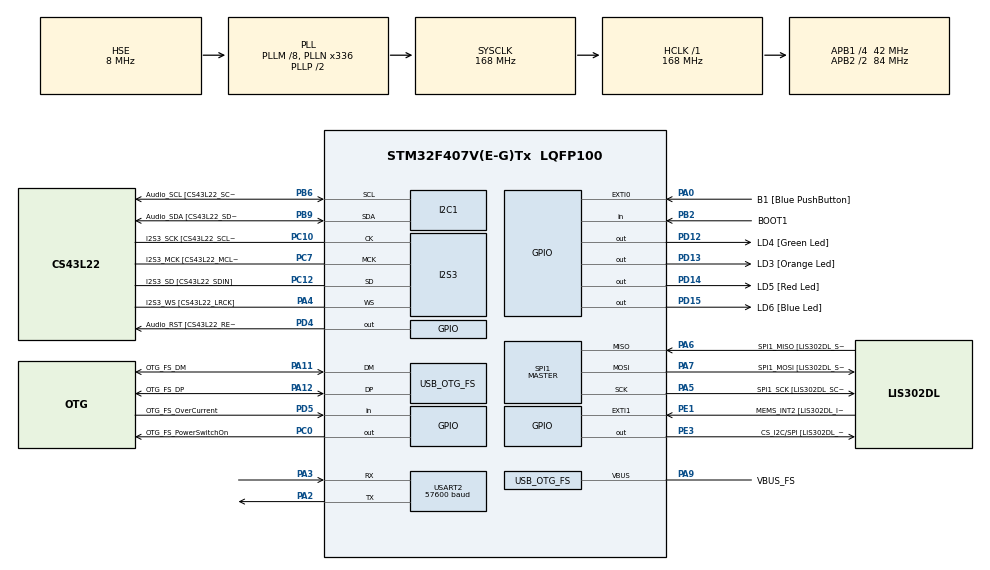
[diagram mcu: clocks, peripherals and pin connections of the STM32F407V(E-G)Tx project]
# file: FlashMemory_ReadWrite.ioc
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I2S3.AudioFreq-Half_Duplex_Master=I2S_AUDIOFREQ_96K
I2S3.ErrorAudioFreq=-2.34 %
I2S3.ErrorAudioFreq-Half_Duplex_Master=0.8 %
I2S3.FullDuplexMode=I2S_FULLDUPLEXMODE_DISABLE
I2S3.Instance=SPI$Index
I2S3.RealAudioFreq=93.75 KHz
I2S3.RealAudioFreq-Half_Duplex_Master=96.774 KHz
I2S3.VirtualMode=I2S_MODE_MASTER
Mcu.Family=STM32F4
Mcu.Name=STM32F407V(E-G)Tx
Mcu.Package=LQFP100
NVIC.OTG_FS_IRQn=true\:0\:0\:false\:false\:true\:true\:true\:true
NVIC.PriorityGroup=NVIC_PRIORITYGROUP_0
NVIC.USART2_IRQn=true\:0\:0\:false\:false\:true\:true\:true\:true
PA0-WKUP.GPIO_Label=B1 [Blue PushButton]
PA0-WKUP.GPIO_ModeDefaultEXTI=GPIO_MODE_EVT_RISING
PA0-WKUP.GPIO_PuPd=GPIO_NOPULL
PA0-WKUP.Signal=GPXTI0
PA10.GPIO_Label=OTG_FS_ID
PA10.GPIO_Mode=GPIO_MODE_AF_PP
PA10.GPIO_PuPd=GPIO_NOPULL
PA10.GPIO_Speed=GPIO_SPEED_FREQ_LOW
PA10.Signal=USB_OTG_FS_ID
PA11.GPIO_Label=OTG_FS_DM
PA11.GPIO_Mode=GPIO_MODE_AF_PP
PA11.GPIO_PuPd=GPIO_NOPULL
PA11.GPIO_Speed=GPIO_SPEED_FREQ_LOW
PA11.Mode=Host_Only
PA11.Signal=USB_OTG_FS_DM
PA12.GPIO_Label=OTG_FS_DP
PA12.GPIO_Mode=GPIO_MODE_AF_PP
PA12.GPIO_PuPd=GPIO_NOPULL
PA12.GPIO_Speed=GPIO_SPEED_FREQ_LOW
PA12.Mode=Host_Only
PA12.Signal=USB_OTG_FS_DP
PA13.GPIO_Label=SWDIO
PA13.Mode=Serial_Wire
PA13.Signal=SYS_JTMS-SWDIO
PA14.GPIO_Label=SWCLK
PA14.Mode=Serial_Wire
PA14.Signal=SYS_JTCK-SWCLK
PA2.Mode=Asynchronous
PA2.Signal=USART2_TX
PA3.Mode=Asynchronous
PA3.Signal=USART2_RX
PA4.GPIO_Label=I2S3_WS [CS43L22_LRCK]
PA4.GPIO_Mode=GPIO_MODE_AF_PP
PA4.GPIO_PuPd=GPIO_NOPULL
PA4.GPIO_Speed=GPIO_SPEED_FREQ_LOW
PA4.Mode=Half_Duplex_Master
PA4.Signal=I2S3_WS
PA5.GPIO_Label=SPI1_SCK [LIS302DL_SCL/SPC]
PA5.GPIO_Mode=GPIO_MODE_AF_PP
PA5.GPIO_PuPd=GPIO_NOPULL
PA5.GPIO_Speed=GPIO_SPEED_FREQ_LOW
PA5.Mode=Full_Duplex_Master
PA5.Signal=SPI1_SCK
PA6.GPIO_Label=SPI1_MISO [LIS302DL_SDO]
PA6.GPIO_Mode=GPIO_MODE_AF_PP
PA6.GPIO_PuPd=GPIO_NOPULL
PA6.GPIO_Speed=GPIO_SPEED_FREQ_LOW
PA6.Mode=Full_Duplex_Master
PA6.Signal=SPI1_MISO
PA7.GPIO_Label=SPI1_MOSI [LIS302DL_SDA/SDI/SDO]
PA7.GPIO_Mode=GPIO_MODE_AF_PP
PA7.GPIO_PuPd=GPIO_NOPULL
PA7.GPIO_Speed=GPIO_SPEED_FREQ_LOW
PA7.Mode=Full_Duplex_Master
PA7.Signal=SPI1_MOSI
PA9.GPIO_Label=VBUS_FS
PA9.GPIO_Mode=GPIO_MODE_INPUT
PA9.GPIO_PuPd=GPIO_NOPULL
PA9.Mode=Activate_VBUS
PA9.Signal=USB_OTG_FS_VBUS
PB10.GPIO_Label=CLK_IN [MP45DT02_CLK]
PB10.GPIO_Mode=GPIO_MODE_AF_PP
PB10.GPIO_PuPd=GPIO_NOPULL
PB10.GPIO_Speed=GPIO_SPEED_FREQ_LOW
PB10.Signal=I2S2_CK
PB2.GPIO_Label=BOOT1
PB2.GPIO_Mode=GPIO_MODE_INPUT
PB2.GPIO_PuPd=GPIO_NOPULL
PB2.Signal=GPIO_Input
PB3.GPIO_Label=SWO
PB3.Signal=SYS_JTDO-SWO
PB6.GPIO_Label=Audio_SCL [CS43L22_SCL]
PB6.GPIO_Mode=GPIO_MODE_AF_OD
PB6.GPIO_Pu=GPIO_PULLUP
PB6.GPIO_PuPd=GPIO_NOPULL
PB6.GPIO_Speed=GPIO_SPEED_FREQ_LOW
PB6.Mode=I2C
PB6.Signal=I2C1_SCL
PB9.GPIO_Label=Audio_SDA [CS43L22_SDA]
PB9.GPIO_Mode=GPIO_MODE_AF_OD
PB9.GPIO_Pu=GPIO_PULLUP
PB9.GPIO_PuPd=GPIO_NOPULL
PB9.GPIO_Speed=GPIO_SPEED_FREQ_LOW
PB9.Mode=I2C
PB9.Signal=I2C1_SDA
PC0.GPIO_Label=OTG_FS_PowerSwitchOn
PC0.GPIO_PuPd=GPIO_NOPULL
PC0.GPIO_Speed=GPIO_SPEED_FREQ_LOW
PC0.PinState=GPIO_PIN_SET
PC0.Signal=GPIO_Output
PC10.GPIO_Label=I2S3_SCK [CS43L22_SCLK]
PC10.GPIO_Mode=GPIO_MODE_AF_PP
PC10.GPIO_PuPd=GPIO_NOPULL
PC10.GPIO_Speed=GPIO_SPEED_FREQ_LOW
PC10.Mode=Half_Duplex_Master
PC10.Signal=I2S3_CK
PC12.GPIO_Label=I2S3_SD [CS43L22_SDIN]
PC12.GPIO_Mode=GPIO_MODE_AF_PP
PC12.GPIO_PuPd=GPIO_NOPULL
PC12.GPIO_Speed=GPIO_SPEED_FREQ_LOW
PC12.Mode=Half_Duplex_Master
PC12.Signal=I2S3_SD
PC14-OSC32_IN.GPIO_Label=PC14-OSC32_IN
PC14-OSC32_IN.Mode=LSE-External-Oscillator
PC14-OSC32_IN.Signal=RCC_OSC32_IN
PC15-OSC32_OUT.GPIO_Label=PC15-OSC32_OUT
PC15-OSC32_OUT.Mode=LSE-External-Oscillator
PC15-OSC32_OUT.Signal=RCC_OSC32_OUT
PC3.GPIO_Label=PDM_OUT [MP45DT02_DOUT]
PC3.GPIO_Mode=GPIO_MODE_AF_PP
PC3.GPIO_PuPd=GPIO_NOPULL
PC3.GPIO_Speed=GPIO_SPEED_FREQ_LOW
PC3.Signal=I2S2_SD
PC7.GPIO_Label=I2S3_MCK [CS43L22_MCLK]
PC7.GPIO_Mode=GPIO_MODE_AF_PP
PC7.GPIO_PuPd=GPIO_NOPULL
PC7.GPIO_Speed=GPIO_SPEED_FREQ_LOW
PC7.Mode=Master_Clock_Activated
PC7.Signal=I2S3_MCK
PD12.GPIO_Label=LD4 [Green Led]
PD12.GPIO_PuPd=GPIO_NOPULL
PD12.GPIO_Speed=GPIO_SPEED_FREQ_LOW
PD12.Signal=GPIO_Output
PD13.GPIO_Label=LD3 [Orange Led]
PD13.GPIO_PuPd=GPIO_NOPULL
PD13.GPIO_Speed=GPIO_SPEED_FREQ_LOW
PD13.Signal=GPIO_Output
PD14.GPIO_Label=LD5 [Red Led]
PD14.GPIO_PuPd=GPIO_NOPULL
PD14.GPIO_Speed=GPIO_SPEED_FREQ_LOW
PD14.Signal=GPIO_Output
PD15.GPIO_Label=LD6 [Blue Led]
PD15.GPIO_PuPd=GPIO_NOPULL
PD15.GPIO_Speed=GPIO_SPEED_FREQ_LOW
PD15.Signal=GPIO_Output
PD4.GPIO_Label=Audio_RST [CS43L22_RESET]
PD4.GPIO_PuPd=GPIO_NOPULL
PD4.GPIO_Speed=GPIO_SPEED_FREQ_LOW
PD4.Signal=GPIO_Output
PD5.GPIO_Label=OTG_FS_OverCurrent
PD5.GPIO_Mode=GPIO_MODE_INPUT
PD5.GPIO_PuPd=GPIO_NOPULL
PD5.Signal=GPIO_Input
PE1.GPIO_Label=MEMS_INT2 [LIS302DL_INT2]
PE1.GPIO_ModeDefaultEXTI=GPIO_MODE_EVT_RISING
PE1.GPIO_PuPd=GPIO_NOPULL
PE1.Signal=GPXTI1
PE3.GPIO_Label=CS_I2C/SPI [LIS302DL_CS_I2C/SPI]
PE3.GPIO_PuPd=GPIO_NOPULL
PE3.GPIO_Speed=GPIO_SPEED_FREQ_LOW
PE3.Signal=GPIO_Output
PH0-OSC_IN.GPIO_Label=PH0-OSC_IN
PH0-OSC_IN.Mode=HSE-External-Oscillator
PH0-OSC_IN.Signal=RCC_OSC_IN
PH1-OSC_OUT.GPIO_Label=PH1-OSC_OUT
PH1-OSC_OUT.Mode=HSE-External-Oscillator
PH1-OSC_OUT.Signal=RCC_OSC_OUT
ProjectManager.HeapSize=0x200
ProjectManager.StackSize=0x400
ProjectManager.TargetToolchain=STM32CubeIDE
RCC.48MHZClocksFreq_Value=48000000
RCC.AHBFreq_Value=168000000
RCC.APB1CLKDivider=RCC_HCLK_DIV4
RCC.APB1Freq_Value=42000000
RCC.APB1TimFreq_Value=84000000
RCC.APB2CLKDivider=RCC_HCLK_DIV2
RCC.APB2Freq_Value=84000000
RCC.APB2TimFreq_Value=168000000
RCC.CortexFreq_Value=168000000
RCC.HCLKFreq_Value=168000000
RCC.HSE_VALUE=8000000
RCC.HSI_VALUE=16000000
RCC.PLLM=8
RCC.PLLN=336
RCC.PLLQ=7
RCC.SYSCLKFreq_VALUE=168000000
RCC.SYSCLKSource=RCC_SYSCLKSOURCE_PLLCLK
RCC.VCOOutputFreq_Value=336000000
SPI1.BaudRatePrescaler-Full_Duplex_Master=SPI_BAUDRATEPRESCALER_2
SPI1.CalculateBaudRate-Full_Duplex_Master=42.0 MBits/s
SPI1.Direction=SPI_DIRECTION_2LINES
SPI1.Mode=SPI_MODE_MASTER
SPI1.Mode-Full_Duplex_Master=SPI_MODE_MASTER
SPI1.VirtualType=VM_MASTER
USART2.BaudRate=57600
USART2.VirtualMode=VM_ASYNC
USB_HOST.BSP.number=1
USB_HOST.USBH_HandleTypeDef-CDC_FS=hUsbHostFS
USB_HOST.VirtualModeFS=Cdc
USB_HOST0.BSP.STBoard=false
USB_HOST0.BSP.api=Unknown
USB_HOST0.BSP.instance=PC0
USB_HOST0.BSP.ip=GPIO
USB_HOST0.BSP.mode=Output
USB_HOST0.BSP.name=Drive_VBUS_FS
USB_HOST0.BSP.solution=PC0
USB_OTG_FS.VirtualMode=Host_Only
USB_OTG_FS.phy_itface=HCD_PHY_EMBEDDED
VP_USB_HOST_VS_USB_HOST_CDC_FS.Mode=CDC_FS
board=STM32F407G-DISC1

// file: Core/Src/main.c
/* USER CODE BEGIN Header */
/**
  ******************************************************************************
  * @file           : main.c
  * @brief          : Main program body
  ******************************************************************************
  * @attention
  *
  * Copyright (c) 2025 STMicroelectronics.
  * All rights reserved.
  *
  * This software is licensed under terms that can be found in the LICENSE file
  * in the root directory of this software component.
  * If no LICENSE file comes with this software, it is provided AS-IS.
  *
  ******************************************************************************
  */
/* USER CODE END Header */
#include "main.h"
#include "usb_host.h"

#include <string.h>

/* USER CODE BEGIN PD */

char Receive_Data[4];

uint32_t Adres[5] = {0x080E0000,0x080E0004,0x080E0008,0x080E000C};

char flash_data[5][4];

uint8_t message_index =0;

uint8_t flag=0;

/* USER CODE END PD */

I2C_HandleTypeDef hi2c1;

I2S_HandleTypeDef hi2s3;

SPI_HandleTypeDef hspi1;

UART_HandleTypeDef huart2;

/* USER CODE BEGIN PV */
void HAL_UART_RxCpltCallback(UART_HandleTypeDef *huart)
{
	if(huart==&huart2){

		memcpy(&flash_data[message_index], Receive_Data , 4);

		message_index ++;

		if(message_index<5){

		HAL_UART_Receive_IT(&huart2, (uint8_t*)Receive_Data, 4);

		}

		else{

			flag=1;

		}

	}

}
/* USER CODE END PV */

void SystemClock_Config(void);
static void MX_GPIO_Init(void);
static void MX_I2C1_Init(void);
static void MX_I2S3_Init(void);
static void MX_SPI1_Init(void);
static void MX_USART2_UART_Init(void);
void MX_USB_HOST_Process(void);
void Flash_Write(uint32_t Flash_Address, uint32_t Flash_Data );
void Flash_Write_String(uint32_t Address, char *str);
uint32_t Flash_Read(uint32_t Flash_Address);

/* USER CODE BEGIN 0 */

//uint8_t Data[] = {0x11111111,0x22222222};

/* USER CODE END 0 */

int main(void)
{

  /* MCU Configuration--------------------------------------------------------*/

  /* Reset of all peripherals, Initializes the Flash interface and the Systick. */
  HAL_Init();

  /* Configure the system clock */
  SystemClock_Config();

  /* Initialize all configured peripherals */
  MX_GPIO_Init();
  MX_I2C1_Init();
  MX_I2S3_Init();
  MX_SPI1_Init();
  MX_USB_HOST_Init();
  MX_USART2_UART_Init();
  /* USER CODE BEGIN 2 */

  HAL_UART_Receive_IT(&huart2, (uint8_t*)Receive_Data,4);
  //Flash_Write(0x080E0000, flash_data[0]);

  /* USER CODE END 2 */

  /* Infinite loop */
  while (1)
  {
    MX_USB_HOST_Process();

    if (flag)
    {
        HAL_FLASH_Unlock();
        FLASH_Erase_Sector(FLASH_SECTOR_11, VOLTAGE_RANGE_3);

        for (int i = 0; i < 5; i++)
        {
        	uint32_t data = 0;
        	memcpy(&data, flash_data[i], 4);
        	Flash_Write(Adres[i], data);

        	if((sizeof(flash_data) / sizeof(flash_data[0])) > 4)
        			{

        		Flash_Write(Adres[0], data);

        			}

        }

        HAL_FLASH_Lock();

        flag = 0;
        HAL_UART_Receive_IT(&huart2, (uint8_t*)Receive_Data, 4);
    }

  }
}

void SystemClock_Config(void)
{
  RCC_OscInitTypeDef RCC_OscInitStruct = {0};
  RCC_ClkInitTypeDef RCC_ClkInitStruct = {0};

  /** Configure the main internal regulator output voltage
  */
  __HAL_RCC_PWR_CLK_ENABLE();
  __HAL_PWR_VOLTAGESCALING_CONFIG(PWR_REGULATOR_VOLTAGE_SCALE1);

  /** Initializes the RCC Oscillators according to the specified parameters
  * in the RCC_OscInitTypeDef structure.
  */
  RCC_OscInitStruct.OscillatorType = RCC_OSCILLATORTYPE_HSE;
  RCC_OscInitStruct.HSEState = RCC_HSE_ON;
  RCC_OscInitStruct.PLL.PLLState = RCC_PLL_ON;
  RCC_OscInitStruct.PLL.PLLSource = RCC_PLLSOURCE_HSE;
  RCC_OscInitStruct.PLL.PLLM = 8;
  RCC_OscInitStruct.PLL.PLLN = 336;
  RCC_OscInitStruct.PLL.PLLP = RCC_PLLP_DIV2;
  RCC_OscInitStruct.PLL.PLLQ = 7;
  if (HAL_RCC_OscConfig(&RCC_OscInitStruct) != HAL_OK)
  {
    Error_Handler();
  }

  /** Initializes the CPU, AHB and APB buses clocks
  */
  RCC_ClkInitStruct.ClockType = RCC_CLOCKTYPE_HCLK|RCC_CLOCKTYPE_SYSCLK
                              |RCC_CLOCKTYPE_PCLK1|RCC_CLOCKTYPE_PCLK2;
  RCC_ClkInitStruct.SYSCLKSource = RCC_SYSCLKSOURCE_PLLCLK;
  RCC_ClkInitStruct.AHBCLKDivider = RCC_SYSCLK_DIV1;
  RCC_ClkInitStruct.APB1CLKDivider = RCC_HCLK_DIV4;
  RCC_ClkInitStruct.APB2CLKDivider = RCC_HCLK_DIV2;

  if (HAL_RCC_ClockConfig(&RCC_ClkInitStruct, FLASH_LATENCY_5) != HAL_OK)
  {
    Error_Handler();
  }
}

static void MX_I2C1_Init(void)
{

  hi2c1.Instance = I2C1;
  hi2c1.Init.ClockSpeed = 100000;
  hi2c1.Init.DutyCycle = I2C_DUTYCYCLE_2;
  hi2c1.Init.OwnAddress1 = 0;
  hi2c1.Init.AddressingMode = I2C_ADDRESSINGMODE_7BIT;
  hi2c1.Init.DualAddressMode = I2C_DUALADDRESS_DISABLE;
  hi2c1.Init.OwnAddress2 = 0;
  hi2c1.Init.GeneralCallMode = I2C_GENERALCALL_DISABLE;
  hi2c1.Init.NoStretchMode = I2C_NOSTRETCH_DISABLE;
  if (HAL_I2C_Init(&hi2c1) != HAL_OK)
  {
    Error_Handler();
  }

}

static void MX_I2S3_Init(void)
{

  hi2s3.Instance = SPI3;
  hi2s3.Init.Mode = I2S_MODE_MASTER_TX;
  hi2s3.Init.Standard = I2S_STANDARD_PHILIPS;
  hi2s3.Init.DataFormat = I2S_DATAFORMAT_16B;
  hi2s3.Init.MCLKOutput = I2S_MCLKOUTPUT_ENABLE;
  hi2s3.Init.AudioFreq = I2S_AUDIOFREQ_96K;
  hi2s3.Init.CPOL = I2S_CPOL_LOW;
  hi2s3.Init.ClockSource = I2S_CLOCK_PLL;
  hi2s3.Init.FullDuplexMode = I2S_FULLDUPLEXMODE_DISABLE;
  if (HAL_I2S_Init(&hi2s3) != HAL_OK)
  {
    Error_Handler();
  }

}

static void MX_SPI1_Init(void)
{

  /* SPI1 parameter configuration*/
  hspi1.Instance = SPI1;
  hspi1.Init.Mode = SPI_MODE_MASTER;
  hspi1.Init.Direction = SPI_DIRECTION_2LINES;
  hspi1.Init.DataSize = SPI_DATASIZE_8BIT;
  hspi1.Init.CLKPolarity = SPI_POLARITY_LOW;
  hspi1.Init.CLKPhase = SPI_PHASE_1EDGE;
  hspi1.Init.NSS = SPI_NSS_SOFT;
  hspi1.Init.BaudRatePrescaler = SPI_BAUDRATEPRESCALER_2;
  hspi1.Init.FirstBit = SPI_FIRSTBIT_MSB;
  hspi1.Init.TIMode = SPI_TIMODE_DISABLE;
  hspi1.Init.CRCCalculation = SPI_CRCCALCULATION_DISABLE;
  hspi1.Init.CRCPolynomial = 10;
  if (HAL_SPI_Init(&hspi1) != HAL_OK)
  {
    Error_Handler();
  }

}

static void MX_USART2_UART_Init(void)
{

  huart2.Instance = USART2;
  huart2.Init.BaudRate = 57600;
  huart2.Init.WordLength = UART_WORDLENGTH_8B;
  huart2.Init.StopBits = UART_STOPBITS_1;
  huart2.Init.Parity = UART_PARITY_NONE;
  huart2.Init.Mode = UART_MODE_TX_RX;
  huart2.Init.HwFlowCtl = UART_HWCONTROL_NONE;
  huart2.Init.OverSampling = UART_OVERSAMPLING_16;
  if (HAL_UART_Init(&huart2) != HAL_OK)
  {
    Error_Handler();
  }

}

static void MX_GPIO_Init(void)
{
  GPIO_InitTypeDef GPIO_InitStruct = {0};

  /* GPIO Ports Clock Enable */
  __HAL_RCC_GPIOE_CLK_ENABLE();
  __HAL_RCC_GPIOC_CLK_ENABLE();
  __HAL_RCC_GPIOH_CLK_ENABLE();
  __HAL_RCC_GPIOA_CLK_ENABLE();
  __HAL_RCC_GPIOB_CLK_ENABLE();
  __HAL_RCC_GPIOD_CLK_ENABLE();

  /*Configure GPIO pin Output Level */
  HAL_GPIO_WritePin(CS_I2C_SPI_GPIO_Port, CS_I2C_SPI_Pin, GPIO_PIN_RESET);

  /*Configure GPIO pin Output Level */
  HAL_GPIO_WritePin(OTG_FS_PowerSwitchOn_GPIO_Port, OTG_FS_PowerSwitchOn_Pin, GPIO_PIN_SET);

  /*Configure GPIO pin Output Level */
  HAL_GPIO_WritePin(GPIOD, LD4_Pin|LD3_Pin|LD5_Pin|LD6_Pin
                          |Audio_RST_Pin, GPIO_PIN_RESET);

  /*Configure GPIO pin : CS_I2C_SPI_Pin */
  GPIO_InitStruct.Pin = CS_I2C_SPI_Pin;
  GPIO_InitStruct.Mode = GPIO_MODE_OUTPUT_PP;
  GPIO_InitStruct.Pull = GPIO_NOPULL;
  GPIO_InitStruct.Speed = GPIO_SPEED_FREQ_LOW;
  HAL_GPIO_Init(CS_I2C_SPI_GPIO_Port, &GPIO_InitStruct);

  /*Configure GPIO pin : OTG_FS_PowerSwitchOn_Pin */
  GPIO_InitStruct.Pin = OTG_FS_PowerSwitchOn_Pin;
  GPIO_InitStruct.Mode = GPIO_MODE_OUTPUT_PP;
  GPIO_InitStruct.Pull = GPIO_NOPULL;
  GPIO_InitStruct.Speed = GPIO_SPEED_FREQ_LOW;
  HAL_GPIO_Init(OTG_FS_PowerSwitchOn_GPIO_Port, &GPIO_InitStruct);

  /*Configure GPIO pin : PDM_OUT_Pin */
  GPIO_InitStruct.Pin = PDM_OUT_Pin;
  GPIO_InitStruct.Mode = GPIO_MODE_AF_PP;
  GPIO_InitStruct.Pull = GPIO_NOPULL;
  GPIO_InitStruct.Speed = GPIO_SPEED_FREQ_LOW;
  GPIO_InitStruct.Alternate = GPIO_AF5_SPI2;
  HAL_GPIO_Init(PDM_OUT_GPIO_Port, &GPIO_InitStruct);

  /*Configure GPIO pin : B1_Pin */
  GPIO_InitStruct.Pin = B1_Pin;
  GPIO_InitStruct.Mode = GPIO_MODE_EVT_RISING;
  GPIO_InitStruct.Pull = GPIO_NOPULL;
  HAL_GPIO_Init(B1_GPIO_Port, &GPIO_InitStruct);

  /*Configure GPIO pin : BOOT1_Pin */
  GPIO_InitStruct.Pin = BOOT1_Pin;
  GPIO_InitStruct.Mode = GPIO_MODE_INPUT;
  GPIO_InitStruct.Pull = GPIO_NOPULL;
  HAL_GPIO_Init(BOOT1_GPIO_Port, &GPIO_InitStruct);

  /*Configure GPIO pin : CLK_IN_Pin */
  GPIO_InitStruct.Pin = CLK_IN_Pin;
  GPIO_InitStruct.Mode = GPIO_MODE_AF_PP;
  GPIO_InitStruct.Pull = GPIO_NOPULL;
  GPIO_InitStruct.Speed = GPIO_SPEED_FREQ_LOW;
  GPIO_InitStruct.Alternate = GPIO_AF5_SPI2;
  HAL_GPIO_Init(CLK_IN_GPIO_Port, &GPIO_InitStruct);

  /*Configure GPIO pins : LD4_Pin LD3_Pin LD5_Pin LD6_Pin
                           Audio_RST_Pin */
  GPIO_InitStruct.Pin = LD4_Pin|LD3_Pin|LD5_Pin|LD6_Pin
                          |Audio_RST_Pin;
  GPIO_InitStruct.Mode = GPIO_MODE_OUTPUT_PP;
  GPIO_InitStruct.Pull = GPIO_NOPULL;
  GPIO_InitStruct.Speed = GPIO_SPEED_FREQ_LOW;
  HAL_GPIO_Init(GPIOD, &GPIO_InitStruct);

  /*Configure GPIO pin : OTG_FS_OverCurrent_Pin */
  GPIO_InitStruct.Pin = OTG_FS_OverCurrent_Pin;
  GPIO_InitStruct.Mode = GPIO_MODE_INPUT;
  GPIO_InitStruct.Pull = GPIO_NOPULL;
  HAL_GPIO_Init(OTG_FS_OverCurrent_GPIO_Port, &GPIO_InitStruct);

  /*Configure GPIO pin : MEMS_INT2_Pin */
  GPIO_InitStruct.Pin = MEMS_INT2_Pin;
  GPIO_InitStruct.Mode = GPIO_MODE_EVT_RISING;
  GPIO_InitStruct.Pull = GPIO_NOPULL;
  HAL_GPIO_Init(MEMS_INT2_GPIO_Port, &GPIO_InitStruct);

}

/* USER CODE BEGIN 4 */

void Flash_Write(uint32_t Flash_Address, uint32_t Flash_Data )
{

	//HAL_FLASH_Unlock();

	//FLASH_Erase_Sector(FLASH_SECTOR_11, VOLTAGE_RANGE_3); // FLASH_SECTOR_11 silmek istediğin sector, voltage_range3 sabit parametre
	HAL_FLASH_Program(FLASH_TYPEPROGRAM_WORD, Flash_Address, Flash_Data);
	//HAL_FLASH_Lock();

}

uint32_t Flash_Read(uint32_t Flash_Address){

	uint32_t Flash_Data;

	Flash_Data = *(uint32_t*) Flash_Address;

	return Flash_Data;

}

/* USER CODE END 4 */

void Error_Handler(void)
{
  __disable_irq();
  while (1)
  {
  }
}
